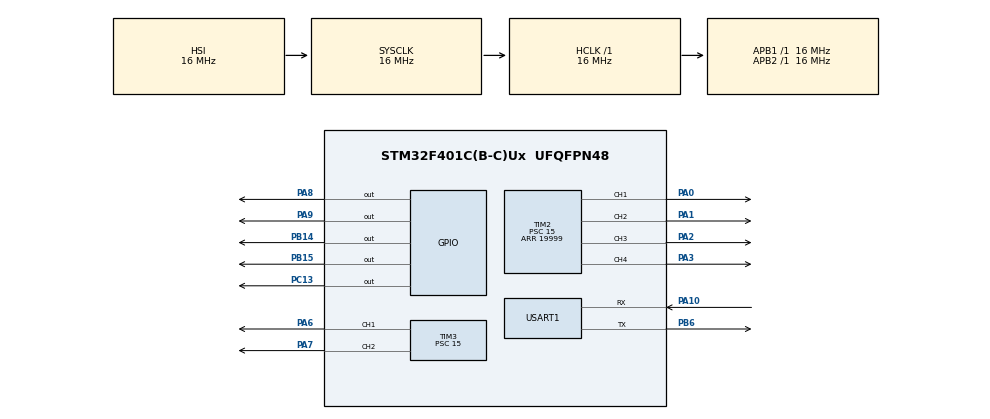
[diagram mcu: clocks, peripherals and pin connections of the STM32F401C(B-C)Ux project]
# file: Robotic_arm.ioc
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Mcu.Family=STM32F4
Mcu.Name=STM32F401C(B-C)Ux
Mcu.Package=UFQFPN48
NVIC.PriorityGroup=NVIC_PRIORITYGROUP_4
NVIC.USART1_IRQn=true\:0\:0\:false\:false\:true\:true\:true\:true
PA0-WKUP.Signal=S_TIM2_CH1_ETR
PA1.Signal=S_TIM2_CH2
PA10.Mode=Asynchronous
PA10.Signal=USART1_RX
PA2.Signal=S_TIM2_CH3
PA3.Signal=S_TIM2_CH4
PA6.Signal=S_TIM3_CH1
PA7.Signal=S_TIM3_CH2
PA8.Signal=GPIO_Output
PA9.Signal=GPIO_Output
PB14.Signal=GPIO_Output
PB15.Signal=GPIO_Output
PB6.Mode=Asynchronous
PB6.Signal=USART1_TX
PC13-ANTI_TAMP.Signal=GPIO_Output
ProjectManager.HeapSize=0x200
ProjectManager.StackSize=0x400
ProjectManager.TargetToolchain=STM32CubeIDE
RCC.AHBFreq_Value=16000000
RCC.APB1Freq_Value=16000000
RCC.APB2Freq_Value=16000000
RCC.CortexFreq_Value=16000000
RCC.HSE_VALUE=25000000
RCC.HSI_VALUE=16000000
RCC.LSE_VALUE=32768
RCC.SYSCLKFreq_VALUE=16000000
RCC.VCOOutputFreq_Value=192000000
SH.S_TIM2_CH1_ETR.0=TIM2_CH1,PWM Generation1 CH1
SH.S_TIM2_CH2.0=TIM2_CH2,PWM Generation2 CH2
SH.S_TIM2_CH3.0=TIM2_CH3,PWM Generation3 CH3
SH.S_TIM2_CH4.0=TIM2_CH4,PWM Generation4 CH4
SH.S_TIM3_CH1.0=TIM3_CH1,PWM Generation1 CH1
SH.S_TIM3_CH2.0=TIM3_CH2,PWM Generation2 CH2
TIM2.AutoReloadPreload=TIM_AUTORELOAD_PRELOAD_ENABLE
TIM2.Channel-PWM\ Generation1\ CH1=TIM_CHANNEL_1
TIM2.Channel-PWM\ Generation2\ CH2=TIM_CHANNEL_2
TIM2.Channel-PWM\ Generation3\ CH3=TIM_CHANNEL_3
TIM2.Channel-PWM\ Generation4\ CH4=TIM_CHANNEL_4
TIM2.OCMode_PWM-PWM\ Generation2\ CH2=TIM_OCMODE_PWM1
TIM2.Period=19999
TIM2.Prescaler=15
TIM2.Pulse-PWM\ Generation1\ CH1=1500
TIM2.Pulse-PWM\ Generation2\ CH2=1500
TIM2.Pulse-PWM\ Generation3\ CH3=1500
TIM2.Pulse-PWM\ Generation4\ CH4=1500
TIM3.AutoReloadPreload=TIM_AUTORELOAD_PRELOAD_ENABLE
TIM3.Channel-PWM\ Generation1\ CH1=TIM_CHANNEL_1
TIM3.Channel-PWM\ Generation2\ CH2=TIM_CHANNEL_2
TIM3.Period=19999
TIM3.Prescaler=15
TIM3.Pulse-PWM\ Generation1\ CH1=1500
USART1.VirtualMode=VM_ASYNC
VP_TIM2_VS_ClockSourceINT.Mode=Internal
VP_TIM3_VS_ClockSourceINT.Mode=Internal
board=custom

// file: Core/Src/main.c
/* USER CODE BEGIN Header */
/**
 ******************************************************************************
 * @file           : main.c
 * @brief          : Main program body (Robotic Arm Control)
 ******************************************************************************
 */
/* USER CODE END Header */
#include "main.h"

/* USER CODE BEGIN Includes */
#include <stdio.h>
#include <stdlib.h>
#include <string.h>

/* USER CODE END Includes */

/* USER CODE BEGIN PD */
#define RX_BUFFER_SIZE 128
#define SERVO_MIN_PULSE 500  // 0.5ms (0 degrees)
#define SERVO_MAX_PULSE 2500 // 2.5ms (180 degrees)
/* USER CODE END PD */

TIM_HandleTypeDef htim2;
TIM_HandleTypeDef htim3;

UART_HandleTypeDef huart1;

/* USER CODE BEGIN PV */
uint8_t rxBuffer[RX_BUFFER_SIZE];
uint8_t rxByte;
uint16_t rxIndex = 0;
uint8_t packetReady = 0;

// Joint angles (0-180)
int16_t jointAngles[6] = {90, 90, 90, 90, 90, 90};
uint32_t last_packet_time = 0;
/* USER CODE END PV */

void SystemClock_Config(void);
static void MX_GPIO_Init(void);
static void MX_TIM2_Init(void);
static void MX_TIM3_Init(void);
static void MX_USART1_UART_Init(void);
/* USER CODE BEGIN PFP */
void Process_Packet(void);
void Set_Servo_Angles(void);
uint32_t Angle_To_Pulse(int16_t angle);
/* USER CODE END PFP */

/* USER CODE BEGIN 0 */
// UART RX Interrupt Callback
void HAL_UART_RxCpltCallback(UART_HandleTypeDef *huart) {
  if (huart->Instance == USART1) {
    if (rxByte == '\n') {
      rxBuffer[rxIndex] = '\0'; // Null terminate
      packetReady = 1;
    } else {
      if (rxIndex < RX_BUFFER_SIZE - 1) {
        rxBuffer[rxIndex++] = rxByte;
      } else {
        rxIndex = 0; // Overflow protection
      }
    }

    // Listen for next byte
    if (!packetReady) {
      HAL_UART_Receive_IT(&huart1, &rxByte, 1);
    }
  }
}

// Convert angle (0-180) to PWM pulse width (microseconds)
uint32_t Angle_To_Pulse(int16_t angle) {
  if (angle < 0) angle = 0;
  if (angle > 180) angle = 180;
  return SERVO_MIN_PULSE + ((SERVO_MAX_PULSE - SERVO_MIN_PULSE) * angle) / 180;
}

// Set the PWM compare registers based on current joint angles
void Set_Servo_Angles(void) {
  __HAL_TIM_SET_COMPARE(&htim2, TIM_CHANNEL_1,
                        Angle_To_Pulse(jointAngles[0])); // J1
  __HAL_TIM_SET_COMPARE(&htim2, TIM_CHANNEL_2,
                        Angle_To_Pulse(jointAngles[1])); // J2
  __HAL_TIM_SET_COMPARE(&htim2, TIM_CHANNEL_3,
                        Angle_To_Pulse(jointAngles[2])); // J3
  __HAL_TIM_SET_COMPARE(&htim2, TIM_CHANNEL_4,
                        Angle_To_Pulse(jointAngles[3])); // J4
  __HAL_TIM_SET_COMPARE(&htim3, TIM_CHANNEL_1,
                        Angle_To_Pulse(jointAngles[4])); // J5
  __HAL_TIM_SET_COMPARE(&htim3, TIM_CHANNEL_2,
                        Angle_To_Pulse(jointAngles[5])); // J6
}

// Parse the packet like <J1:90,J2:180,J3:0,J4:45,J5:90,J6:90*CHECKSUM>
void Process_Packet(void) {
  char *start = strchr((char *)rxBuffer, '<');
  char *end = strchr((char *)rxBuffer, '>');
  char *star = strchr((char *)rxBuffer, '*');

  if (start && end && star && star > start && end > star) {
    // Validate checksum
    uint8_t calc_checksum = 0;
    for (char *p = start + 1; p < star; p++) {
      calc_checksum ^= *p;
    }

    uint8_t recv_checksum = (uint8_t)strtol(star + 1, NULL, 16);

    if (calc_checksum == recv_checksum) {
      char *ptr = start + 1;
      for (int i = 0; i < 6; i++) {
        char searchStr[5];
        sprintf(searchStr, "J%d:", i + 1);
        char *found = strstr(ptr, searchStr);
        if (found && found < star) {
          jointAngles[i] = atoi(found + 3);
        }
      }
      Set_Servo_Angles();
      last_packet_time = HAL_GetTick();
    }
  }

  // Reset buffer for next packet
  memset(rxBuffer, 0, RX_BUFFER_SIZE);
  rxIndex = 0;
  packetReady = 0;

  // Resume listening
  HAL_UART_Receive_IT(&huart1, &rxByte, 1);
}
/* USER CODE END 0 */

int main(void) {

  /* MCU Configuration--------------------------------------------------------*/

  /* Reset of all peripherals, Initializes the Flash interface and the Systick.
   */
  HAL_Init();

  /* Configure the system clock */
  SystemClock_Config();

  /* Initialize all configured peripherals */
  MX_GPIO_Init();
  MX_TIM2_Init();
  MX_TIM3_Init();
  MX_USART1_UART_Init();

  /* USER CODE BEGIN 2 */
  // Start PWM on all 6 channels
  HAL_TIM_PWM_Start(&htim2, TIM_CHANNEL_1);
  HAL_TIM_PWM_Start(&htim2, TIM_CHANNEL_2);
  HAL_TIM_PWM_Start(&htim2, TIM_CHANNEL_3);
  HAL_TIM_PWM_Start(&htim2, TIM_CHANNEL_4);
  HAL_TIM_PWM_Start(&htim3, TIM_CHANNEL_1);
  HAL_TIM_PWM_Start(&htim3, TIM_CHANNEL_2);

  // Move to initial neutral position (90 degrees)
  Set_Servo_Angles();

  // Start listening on UART1 via Interrupts
  HAL_UART_Receive_IT(&huart1, &rxByte, 1);
  /* USER CODE END 2 */

  /* Infinite loop */
  /* USER CODE BEGIN WHILE */
  last_packet_time = HAL_GetTick();
  while (1) {
    if (packetReady) {
      Process_Packet();
    }

    // Watchdog: If no valid packet received in 1000ms, go to neutral safe state
    if (HAL_GetTick() - last_packet_time > 1000) {
      for(int i = 0; i < 6; i++) {
        jointAngles[i] = 90;
      }
      Set_Servo_Angles();
      // Keep last_packet_time at current so we don't continuously spam PWM registers
      last_packet_time = HAL_GetTick();
    }
    /* USER CODE END WHILE */

  }
}

void SystemClock_Config(void) {
  RCC_OscInitTypeDef RCC_OscInitStruct = {0};
  RCC_ClkInitTypeDef RCC_ClkInitStruct = {0};

  /** Configure the main internal regulator output voltage
   */
  __HAL_RCC_PWR_CLK_ENABLE();
  __HAL_PWR_VOLTAGESCALING_CONFIG(PWR_REGULATOR_VOLTAGE_SCALE2);

  /** Initializes the RCC Oscillators according to the specified parameters
   * in the RCC_OscInitTypeDef structure.
   */
  RCC_OscInitStruct.OscillatorType = RCC_OSCILLATORTYPE_HSI;
  RCC_OscInitStruct.HSIState = RCC_HSI_ON;
  RCC_OscInitStruct.HSICalibrationValue = RCC_HSICALIBRATION_DEFAULT;
  RCC_OscInitStruct.PLL.PLLState = RCC_PLL_NONE;
  if (HAL_RCC_OscConfig(&RCC_OscInitStruct) != HAL_OK) {
    Error_Handler();
  }

  /** Initializes the CPU, AHB and APB buses clocks
   */
  RCC_ClkInitStruct.ClockType = RCC_CLOCKTYPE_HCLK | RCC_CLOCKTYPE_SYSCLK |
                                RCC_CLOCKTYPE_PCLK1 | RCC_CLOCKTYPE_PCLK2;
  RCC_ClkInitStruct.SYSCLKSource = RCC_SYSCLKSOURCE_HSI;
  RCC_ClkInitStruct.AHBCLKDivider = RCC_SYSCLK_DIV1;
  RCC_ClkInitStruct.APB1CLKDivider = RCC_HCLK_DIV1;
  RCC_ClkInitStruct.APB2CLKDivider = RCC_HCLK_DIV1;

  if (HAL_RCC_ClockConfig(&RCC_ClkInitStruct, FLASH_LATENCY_0) != HAL_OK) {
    Error_Handler();
  }
}

static void MX_TIM2_Init(void) {

  TIM_ClockConfigTypeDef sClockSourceConfig = {0};
  TIM_MasterConfigTypeDef sMasterConfig = {0};
  TIM_OC_InitTypeDef sConfigOC = {0};

  htim2.Instance = TIM2;
  htim2.Init.Prescaler = 15;
  htim2.Init.CounterMode = TIM_COUNTERMODE_UP;
  htim2.Init.Period = 19999;
  htim2.Init.ClockDivision = TIM_CLOCKDIVISION_DIV1;
  htim2.Init.AutoReloadPreload = TIM_AUTORELOAD_PRELOAD_ENABLE;
  if (HAL_TIM_Base_Init(&htim2) != HAL_OK) {
    Error_Handler();
  }
  sClockSourceConfig.ClockSource = TIM_CLOCKSOURCE_INTERNAL;
  if (HAL_TIM_ConfigClockSource(&htim2, &sClockSourceConfig) != HAL_OK) {
    Error_Handler();
  }
  if (HAL_TIM_PWM_Init(&htim2) != HAL_OK) {
    Error_Handler();
  }
  sMasterConfig.MasterOutputTrigger = TIM_TRGO_RESET;
  sMasterConfig.MasterSlaveMode = TIM_MASTERSLAVEMODE_DISABLE;
  if (HAL_TIMEx_MasterConfigSynchronization(&htim2, &sMasterConfig) != HAL_OK) {
    Error_Handler();
  }
  sConfigOC.OCMode = TIM_OCMODE_PWM1;
  sConfigOC.Pulse = 1500;
  sConfigOC.OCPolarity = TIM_OCPOLARITY_HIGH;
  sConfigOC.OCFastMode = TIM_OCFAST_DISABLE;

  if (HAL_TIM_PWM_ConfigChannel(&htim2, &sConfigOC, TIM_CHANNEL_1) != HAL_OK) {
    Error_Handler();
  }

  // FIX: Resetting pulse back to 1500 for all channels
  sConfigOC.Pulse = 1500;
  if (HAL_TIM_PWM_ConfigChannel(&htim2, &sConfigOC, TIM_CHANNEL_2) != HAL_OK) {
    Error_Handler();
  }

  sConfigOC.Pulse = 1500;
  if (HAL_TIM_PWM_ConfigChannel(&htim2, &sConfigOC, TIM_CHANNEL_3) != HAL_OK) {
    Error_Handler();
  }

  sConfigOC.Pulse = 1500;
  if (HAL_TIM_PWM_ConfigChannel(&htim2, &sConfigOC, TIM_CHANNEL_4) != HAL_OK) {
    Error_Handler();
  }
  HAL_TIM_MspPostInit(&htim2);
}

static void MX_TIM3_Init(void) {

  TIM_ClockConfigTypeDef sClockSourceConfig = {0};
  TIM_MasterConfigTypeDef sMasterConfig = {0};
  TIM_OC_InitTypeDef sConfigOC = {0};

  htim3.Instance = TIM3;
  htim3.Init.Prescaler = 15;
  htim3.Init.CounterMode = TIM_COUNTERMODE_UP;
  htim3.Init.Period = 19999;
  htim3.Init.ClockDivision = TIM_CLOCKDIVISION_DIV1;
  htim3.Init.AutoReloadPreload = TIM_AUTORELOAD_PRELOAD_ENABLE;
  if (HAL_TIM_Base_Init(&htim3) != HAL_OK) {
    Error_Handler();
  }
  sClockSourceConfig.ClockSource = TIM_CLOCKSOURCE_INTERNAL;
  if (HAL_TIM_ConfigClockSource(&htim3, &sClockSourceConfig) != HAL_OK) {
    Error_Handler();
  }
  if (HAL_TIM_PWM_Init(&htim3) != HAL_OK) {
    Error_Handler();
  }
  sMasterConfig.MasterOutputTrigger = TIM_TRGO_RESET;
  sMasterConfig.MasterSlaveMode = TIM_MASTERSLAVEMODE_DISABLE;
  if (HAL_TIMEx_MasterConfigSynchronization(&htim3, &sMasterConfig) != HAL_OK) {
    Error_Handler();
  }
  sConfigOC.OCMode = TIM_OCMODE_PWM1;
  sConfigOC.Pulse = 1500;
  sConfigOC.OCPolarity = TIM_OCPOLARITY_HIGH;
  sConfigOC.OCFastMode = TIM_OCFAST_DISABLE;

  if (HAL_TIM_PWM_ConfigChannel(&htim3, &sConfigOC, TIM_CHANNEL_1) != HAL_OK) {
    Error_Handler();
  }

  // FIX: Resetting pulse back to 1500 for CH2
  sConfigOC.Pulse = 1500;
  if (HAL_TIM_PWM_ConfigChannel(&htim3, &sConfigOC, TIM_CHANNEL_2) != HAL_OK) {
    Error_Handler();
  }
  HAL_TIM_MspPostInit(&htim3);
}

static void MX_USART1_UART_Init(void) {

  huart1.Instance = USART1;
  huart1.Init.BaudRate = 115200;
  huart1.Init.WordLength = UART_WORDLENGTH_8B;
  huart1.Init.StopBits = UART_STOPBITS_1;
  huart1.Init.Parity = UART_PARITY_NONE;
  huart1.Init.Mode = UART_MODE_TX_RX;
  huart1.Init.HwFlowCtl = UART_HWCONTROL_NONE;
  huart1.Init.OverSampling = UART_OVERSAMPLING_16;
  if (HAL_UART_Init(&huart1) != HAL_OK) {
    Error_Handler();
  }
}

static void MX_GPIO_Init(void) {
  GPIO_InitTypeDef GPIO_InitStruct = {0};

  /* GPIO Ports Clock Enable */
  __HAL_RCC_GPIOC_CLK_ENABLE();
  __HAL_RCC_GPIOA_CLK_ENABLE();
  __HAL_RCC_GPIOB_CLK_ENABLE();

  /*Configure GPIO pin Output Level */
  HAL_GPIO_WritePin(GPIOC, GPIO_PIN_13, GPIO_PIN_RESET);

  /*Configure GPIO pin Output Level */
  HAL_GPIO_WritePin(GPIOB, GPIO_PIN_14 | GPIO_PIN_15, GPIO_PIN_RESET);

  /*Configure GPIO pin Output Level */
  HAL_GPIO_WritePin(GPIOA, GPIO_PIN_8 | GPIO_PIN_9, GPIO_PIN_RESET);

  /*Configure GPIO pin : PC13 */
  GPIO_InitStruct.Pin = GPIO_PIN_13;
  GPIO_InitStruct.Mode = GPIO_MODE_OUTPUT_PP;
  GPIO_InitStruct.Pull = GPIO_NOPULL;
  GPIO_InitStruct.Speed = GPIO_SPEED_FREQ_LOW;
  HAL_GPIO_Init(GPIOC, &GPIO_InitStruct);

  /*Configure GPIO pins : PB14 PB15 */
  GPIO_InitStruct.Pin = GPIO_PIN_14 | GPIO_PIN_15;
  GPIO_InitStruct.Mode = GPIO_MODE_OUTPUT_PP;
  GPIO_InitStruct.Pull = GPIO_NOPULL;
  GPIO_InitStruct.Speed = GPIO_SPEED_FREQ_LOW;
  HAL_GPIO_Init(GPIOB, &GPIO_InitStruct);

  /*Configure GPIO pins : PA8 PA9 */
  GPIO_InitStruct.Pin = GPIO_PIN_8 | GPIO_PIN_9;
  GPIO_InitStruct.Mode = GPIO_MODE_OUTPUT_PP;
  GPIO_InitStruct.Pull = GPIO_NOPULL;
  GPIO_InitStruct.Speed = GPIO_SPEED_FREQ_LOW;
  HAL_GPIO_Init(GPIOA, &GPIO_InitStruct);

}

void Error_Handler(void) {
  __disable_irq();
  while (1) {
  }
}
